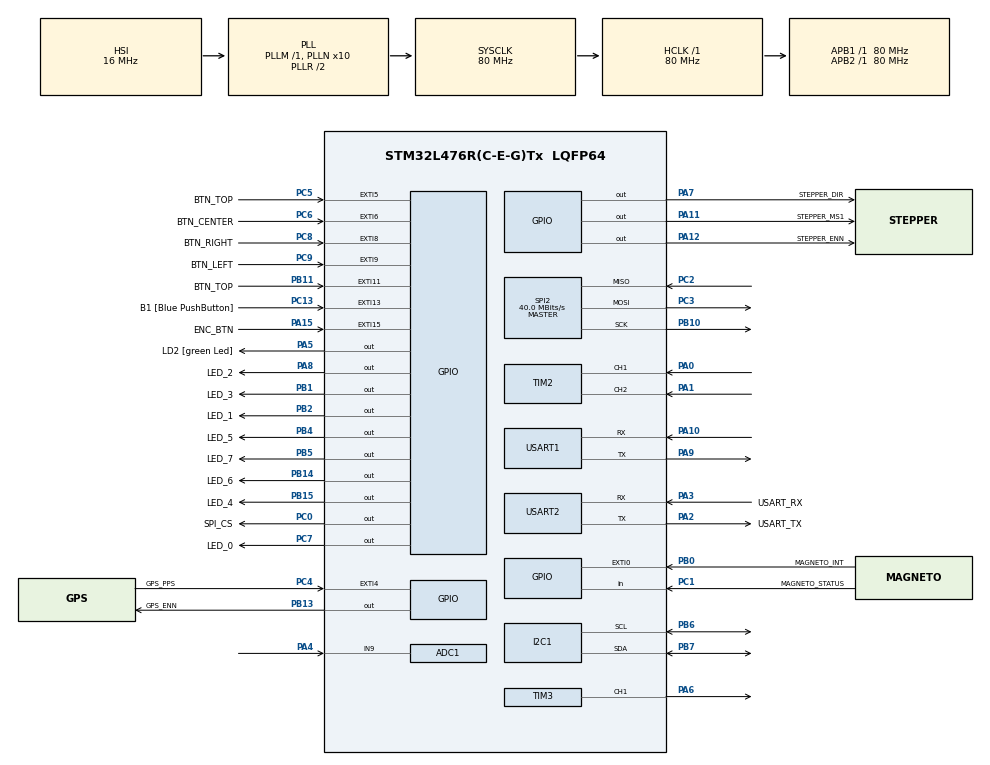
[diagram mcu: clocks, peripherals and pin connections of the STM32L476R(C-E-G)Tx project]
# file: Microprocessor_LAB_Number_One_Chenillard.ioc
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ADC1.Channel-2\#ChannelRegularConversion=ADC_CHANNEL_9
ADC1.NbrOfConversionFlag=1
ADC1.OffsetNumber-2\#ChannelRegularConversion=ADC_OFFSET_NONE
ADC1.Rank-2\#ChannelRegularConversion=1
ADC1.SamplingTime-2\#ChannelRegularConversion=ADC_SAMPLETIME_2CYCLES_5
ADC1.master=1
I2C1.Timing=0x10909CEC
Mcu.Family=STM32L4
Mcu.Name=STM32L476R(C-E-G)Tx
Mcu.Package=LQFP64
NVIC.PriorityGroup=NVIC_PRIORITYGROUP_4
NVIC.TIM4_IRQn=true\:0\:0\:false\:false\:true\:true\:true\:true
NVIC.TIM6_DAC_IRQn=true\:15\:0\:false\:false\:true\:false\:true\:true
NVIC.TimeBase=TIM6_DAC_IRQn
NVIC.TimeBaseIP=TIM6
PA0.Signal=S_TIM2_CH1
PA1.Signal=S_TIM2_CH2
PA10.Mode=Asynchronous
PA10.Signal=USART1_RX
PA11.GPIO_Label=STEPPER_MS1
PA11.Signal=GPIO_Output
PA12.GPIO_Label=STEPPER_ENN
PA12.Signal=GPIO_Output
PA13\ (JTMS-SWDIO).GPIO_Label=TMS
PA13\ (JTMS-SWDIO).Mode=Trace_Asynchronous_SW
PA13\ (JTMS-SWDIO).Signal=SYS_JTMS-SWDIO
PA14\ (JTCK-SWCLK).GPIO_Label=TCK
PA14\ (JTCK-SWCLK).Mode=Trace_Asynchronous_SW
PA14\ (JTCK-SWCLK).Signal=SYS_JTCK-SWCLK
PA15\ (JTDI).GPIO_Label=ENC_BTN
PA15\ (JTDI).Signal=GPXTI15
PA2.GPIO_Label=USART_TX
PA2.GPIO_Mode=GPIO_MODE_AF_PP
PA2.GPIO_PuPd=GPIO_NOPULL
PA2.GPIO_Speed=GPIO_SPEED_FREQ_VERY_HIGH
PA2.Mode=Asynchronous
PA2.Signal=USART2_TX
PA3.GPIO_Label=USART_RX
PA3.GPIO_Mode=GPIO_MODE_AF_PP
PA3.GPIO_PuPd=GPIO_NOPULL
PA3.GPIO_Speed=GPIO_SPEED_FREQ_VERY_HIGH
PA3.Mode=Asynchronous
PA3.Signal=USART2_RX
PA4.Signal=ADCx_IN9
PA5.GPIO_Label=LD2 [green Led]
PA5.GPIO_ModeDefaultOutputPP=GPIO_MODE_OUTPUT_PP
PA5.GPIO_PuPd=GPIO_NOPULL
PA5.GPIO_Speed=GPIO_SPEED_FREQ_LOW
PA5.Signal=GPIO_Output
PA6.Signal=S_TIM3_CH1
PA7.GPIO_Label=STEPPER_DIR
PA7.Signal=GPIO_Output
PA8.GPIO_Label=LED_2
PA8.Signal=GPIO_Output
PA9.Mode=Asynchronous
PA9.Signal=USART1_TX
PB0.GPIO_Label=MAGNETO_INT
PB0.Signal=GPXTI0
PB1.GPIO_Label=LED_3
PB1.Signal=GPIO_Output
PB10.Mode=Full_Duplex_Master
PB10.Signal=SPI2_SCK
PB11.GPIO_Label=BTN_TOP
PB11.Signal=GPXTI11
PB13.GPIO_Label=GPS_ENN
PB13.Signal=GPIO_Output
PB14.GPIO_Label=LED_6
PB14.Signal=GPIO_Output
PB15.GPIO_Label=LED_4
PB15.Signal=GPIO_Output
PB2.GPIO_Label=LED_1
PB2.Signal=GPIO_Output
PB3\ (JTDO-TRACESWO).Mode=Trace_Asynchronous_SW
PB3\ (JTDO-TRACESWO).Signal=SYS_JTDO-SWO
PB4\ (NJTRST).GPIO_Label=LED_5
PB4\ (NJTRST).Signal=GPIO_Output
PB5.GPIO_Label=LED_7
PB5.Signal=GPIO_Output
PB6.Mode=I2C
PB6.Signal=I2C1_SCL
PB7.Mode=I2C
PB7.Signal=I2C1_SDA
PC0.GPIO_Label=SPI_CS
PC0.Signal=GPIO_Output
PC1.GPIO_Label=MAGNETO_STATUS
PC1.Signal=GPIO_Input
PC13.GPIO_Label=B1 [Blue PushButton]
PC13.GPIO_ModeDefaultEXTI=GPIO_MODE_IT_FALLING
PC13.GPIO_PuPd=GPIO_NOPULL
PC13.Signal=GPXTI13
PC14-OSC32_IN\ (PC14).Mode=LSE-External-Oscillator
PC14-OSC32_IN\ (PC14).Signal=RCC_OSC32_IN
PC15-OSC32_OUT\ (PC15).Mode=LSE-External-Oscillator
PC15-OSC32_OUT\ (PC15).Signal=RCC_OSC32_OUT
PC2.Mode=Full_Duplex_Master
PC2.Signal=SPI2_MISO
PC3.Mode=Full_Duplex_Master
PC3.Signal=SPI2_MOSI
PC4.GPIO_Label=GPS_PPS
PC4.Signal=GPXTI4
PC5.GPIO_Label=BTN_TOP
PC5.Signal=GPXTI5
PC6.GPIO_Label=BTN_CENTER
PC6.Signal=GPXTI6
PC7.GPIO_Label=LED_0
PC7.Signal=GPIO_Output
PC8.GPIO_Label=BTN_RIGHT
PC8.Signal=GPXTI8
PC9.GPIO_Label=BTN_LEFT
PC9.Signal=GPXTI9
PH0-OSC_IN\ (PH0).Mode=HSE-External-Oscillator
PH0-OSC_IN\ (PH0).Signal=RCC_OSC_IN
PH1-OSC_OUT\ (PH1).Mode=HSE-External-Oscillator
PH1-OSC_OUT\ (PH1).Signal=RCC_OSC_OUT
ProjectManager.HeapSize=0x200
ProjectManager.StackSize=0x400
ProjectManager.TargetToolchain=STM32CubeIDE
RCC.ADCFreq_Value=64000000
RCC.AHBFreq_Value=80000000
RCC.APB1Freq_Value=80000000
RCC.APB1TimFreq_Value=80000000
RCC.APB2Freq_Value=80000000
RCC.APB2TimFreq_Value=80000000
RCC.CortexFreq_Value=80000000
RCC.HCLKFreq_Value=80000000
RCC.HSE_VALUE=8000000
RCC.HSI_VALUE=16000000
RCC.MSI_VALUE=4000000
RCC.PLLN=10
RCC.PLLSourceVirtual=RCC_PLLSOURCE_HSI
RCC.PREFETCH_ENABLE=1
RCC.SYSCLKFreq_VALUE=80000000
RCC.SYSCLKSource=RCC_SYSCLKSOURCE_PLLCLK
RCC.USBFreq_Value=64000000
RCC.VCOOutputFreq_Value=160000000
SH.ADCx_IN9.0=ADC1_IN9,IN9-Single-Ended
SH.S_TIM2_CH1.0=TIM2_CH1,Encoder_Interface
SH.S_TIM2_CH2.0=TIM2_CH2,Encoder_Interface
SH.S_TIM3_CH1.0=TIM3_CH1,PWM Generation1 CH1
SPI2.CalculateBaudRate=40.0 MBits/s
SPI2.Direction=SPI_DIRECTION_2LINES
SPI2.Mode=SPI_MODE_MASTER
SPI2.VirtualType=VM_MASTER
TIM3.Channel-PWM\ Generation1\ CH1=TIM_CHANNEL_1
TIM4.Period=9999
TIM4.Prescaler=79
USART1.VirtualMode-Asynchronous=VM_ASYNC
USART2.VirtualMode-Asynchronous=VM_ASYNC
VP_SYS_VS_tim6.Mode=TIM6
VP_TIM3_VS_ClockSourceINT.Mode=Internal
VP_TIM4_VS_ClockSourceINT.Mode=Internal
board=NUCLEO-L476RG

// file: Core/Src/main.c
/* USER CODE BEGIN Header */
/**
  ******************************************************************************
  * @file           : main.c
  * @brief          : Main program body
  ******************************************************************************
  * @attention
  *
  * Copyright (c) 2024 STMicroelectronics.
  * All rights reserved.
  *
  * This software is licensed under terms that can be found in the LICENSE file
  * in the root directory of this software component.
  * If no LICENSE file comes with this software, it is provided AS-IS.
  *
  ******************************************************************************
  */
/* USER CODE END Header */
#include "main.h"
#include "adc.h"
#include "i2c.h"
#include "spi.h"
#include "tim.h"
#include "usart.h"
#include "gpio.h"

/* USER CODE BEGIN Includes */
#include <stdio.h>
#include "led.h"
#include "ssd1315.h"
#include "fonts.h"
#include "task.h"
/* USER CODE END Includes */

void SystemClock_Config(void);

/* USER CODE BEGIN 0 */
int __io_putchar(int ch)
{
  HAL_UART_Transmit(&huart2, (uint8_t *)&ch, 1, HAL_MAX_DELAY);
  return ch;
}

int __io_getchar(void)
{
  uint8_t ch = 0;
  __HAL_UART_CLEAR_OREFLAG(&huart2);
  HAL_UART_Receive(&huart2, (uint8_t *)&ch, 1, HAL_MAX_DELAY);
  HAL_UART_Transmit(&huart2, (uint8_t *)&ch, 1, HAL_MAX_DELAY);
  return ch;
}
/* USER CODE END 0 */

int main(void)
{

  /* MCU Configuration--------------------------------------------------------*/

  /* Reset of all peripherals, Initializes the Flash interface and the Systick. */
  HAL_Init();

  /* Configure the system clock */
  SystemClock_Config();

  /* Initialize all configured peripherals */
  MX_GPIO_Init();
  MX_USART2_UART_Init();
  MX_I2C1_Init();
  MX_SPI2_Init();
  MX_TIM2_Init();
  MX_TIM3_Init();
  MX_USART1_UART_Init();
  MX_ADC1_Init();
  MX_TIM4_Init();
  /* USER CODE BEGIN 2 */

  printf("I'm alive ! \r\n");
  ssd1315_Init();
  ssd1315_Draw_String(0,0,"WELCOME ENSEA",&Font_7x10);
  ssd1315_Refresh();
  HAL_TIM_Base_Start_IT(&htim4);
  /* USER CODE END 2 */

  /* Infinite loop */
  while (1)
  {

  }
}

void SystemClock_Config(void)
{
  RCC_OscInitTypeDef RCC_OscInitStruct = {0};
  RCC_ClkInitTypeDef RCC_ClkInitStruct = {0};

  /** Configure the main internal regulator output voltage
  */
  if (HAL_PWREx_ControlVoltageScaling(PWR_REGULATOR_VOLTAGE_SCALE1) != HAL_OK)
  {
    Error_Handler();
  }

  /** Initializes the RCC Oscillators according to the specified parameters
  * in the RCC_OscInitTypeDef structure.
  */
  RCC_OscInitStruct.OscillatorType = RCC_OSCILLATORTYPE_HSI;
  RCC_OscInitStruct.HSIState = RCC_HSI_ON;
  RCC_OscInitStruct.HSICalibrationValue = RCC_HSICALIBRATION_DEFAULT;
  RCC_OscInitStruct.PLL.PLLState = RCC_PLL_ON;
  RCC_OscInitStruct.PLL.PLLSource = RCC_PLLSOURCE_HSI;
  RCC_OscInitStruct.PLL.PLLM = 1;
  RCC_OscInitStruct.PLL.PLLN = 10;
  RCC_OscInitStruct.PLL.PLLP = RCC_PLLP_DIV7;
  RCC_OscInitStruct.PLL.PLLQ = RCC_PLLQ_DIV2;
  RCC_OscInitStruct.PLL.PLLR = RCC_PLLR_DIV2;
  if (HAL_RCC_OscConfig(&RCC_OscInitStruct) != HAL_OK)
  {
    Error_Handler();
  }

  /** Initializes the CPU, AHB and APB buses clocks
  */
  RCC_ClkInitStruct.ClockType = RCC_CLOCKTYPE_HCLK|RCC_CLOCKTYPE_SYSCLK
                              |RCC_CLOCKTYPE_PCLK1|RCC_CLOCKTYPE_PCLK2;
  RCC_ClkInitStruct.SYSCLKSource = RCC_SYSCLKSOURCE_PLLCLK;
  RCC_ClkInitStruct.AHBCLKDivider = RCC_SYSCLK_DIV1;
  RCC_ClkInitStruct.APB1CLKDivider = RCC_HCLK_DIV1;
  RCC_ClkInitStruct.APB2CLKDivider = RCC_HCLK_DIV1;

  if (HAL_RCC_ClockConfig(&RCC_ClkInitStruct, FLASH_LATENCY_4) != HAL_OK)
  {
    Error_Handler();
  }
}

void HAL_TIM_PeriodElapsedCallback(TIM_HandleTypeDef *htim)
{
  /* USER CODE BEGIN Callback 0 */
	static int taskNumber=0;
	  if(htim->Instance == TIM4)
	  	{
	  		taskNumber=(taskNumber+1)%3;
	  		switch	(taskNumber){
	  			case 0 : 	taskLED();
	  						break;
	  			case 1 : 	taskButton();
	  						break;
	  			case 2 : 	taskScreen();
	  						break;
	  		}
	  	}
  /* USER CODE END Callback 0 */
  if (htim->Instance == TIM6) {
    HAL_IncTick();
  }
}

void Error_Handler(void)
{
  __disable_irq();
  while (1)
  {
  }
}
